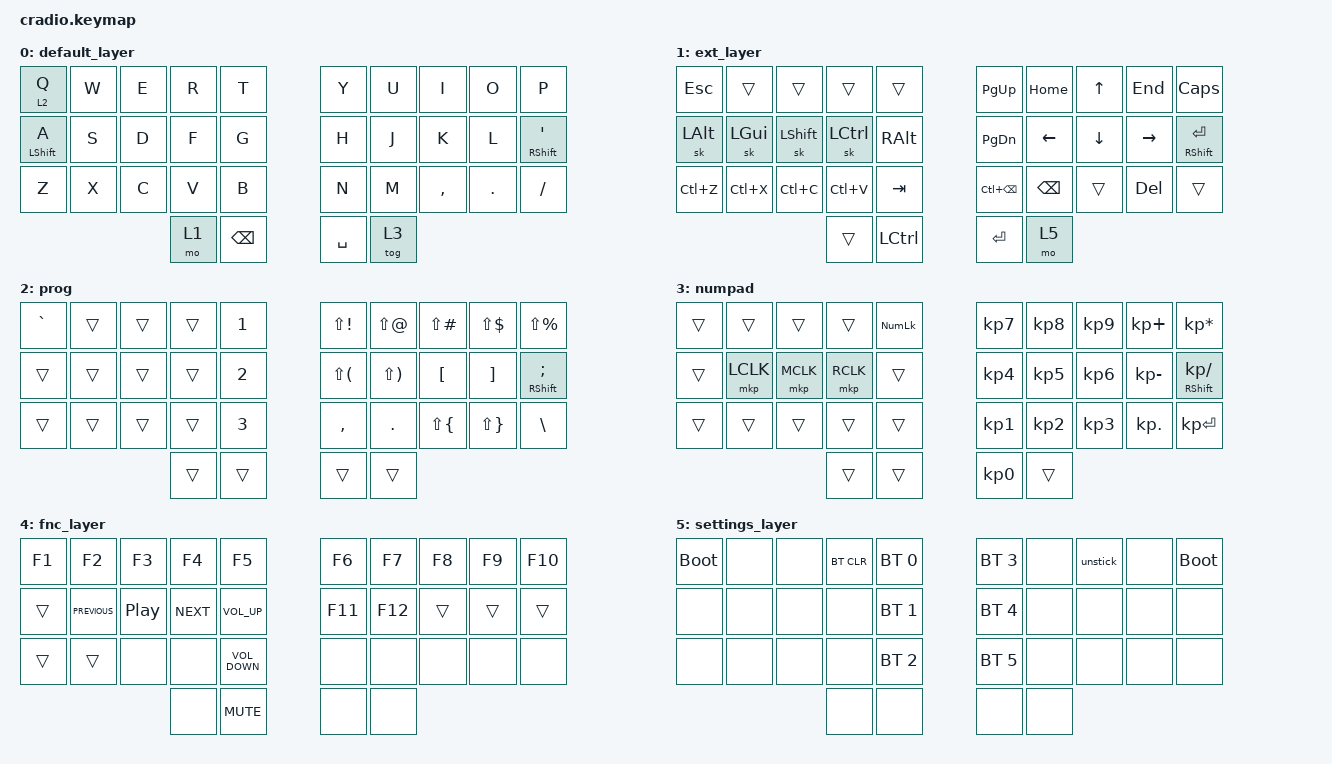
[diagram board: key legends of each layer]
/*
 * Copyright (c) 2020 The ZMK Contributors
 *
 * SPDX-License-Identifier: MIT
 */

#include <behaviors.dtsi>
#include <dt-bindings/zmk/bt.h>
#include <dt-bindings/zmk/keys.h>
#include <dt-bindings/zmk/mouse.h>

// Layer definitions

#define BASE 0
#define SYM 1
#define EXT 2
#define FNC 3
#define SYM2 4
#define SETTINGS 6

// -----------------

&mt {
    //  flavor = "tap-preferred";
    // tapping_term_ms = <200>;
};

&sk { ignore-modifiers; };

/ {
    macros {
        // sometimes my device thinks a modifier is being held down
        // pressing all modifiers fixes it.

        unstick: unstick {
            label = "ZM_unstick";
            compatible = "zmk,behavior-macro";
            #binding-cells = <0>;
            bindings = <&kp LSHIFT &kp RSHIFT &kp LCTRL &kp RCTRL &kp LALT &kp RALT &kp LGUI &kp RGUI>;
        };
    };

    combos {
        compatible = "zmk,combos";

        // both right thumb keys
        // internal-left & external-right thumb keys
        // both left thumb keys

        combo_settings {
            timeout-ms = <300>;
            key-positions = <30 31>;
            bindings = <&mo 5>;
        };

        quick_escape {
            bindings = <&kp ESC>;
            key-positions = <16 17>;
        };

        function_layer {
            bindings = <&mo 4>;
            key-positions = <32 33>;
        };

        windows_and_program {
            bindings = <&hold_layer 2 LEFT_WIN>;
            key-positions = <12 13>;
        };
    };

    behaviors {
        hold_layer: hold_layer {
            compatible = "zmk,behavior-hold-tap";
            label = "HOLD_LAYER";
            bindings = <&mo>, <&kp>;

            #binding-cells = <2>;
            tapping-term-ms = <200>;
        };
    };

    keymap {
        compatible = "zmk,keymap";

        // Base alpha layer

        default_layer {
            bindings = <
&hold_layer 2 Q   &kp W  &kp E  &kp R  &kp T            &kp Y      &kp U   &kp I      &kp O    &kp P
&mt LEFT_SHIFT A  &kp S  &kp D  &kp F  &kp G            &kp H      &kp J   &kp K      &kp L    &mt RIGHT_SHIFT SINGLE_QUOTE
&kp Z             &kp X  &kp C  &kp V  &kp B            &kp N      &kp M   &kp COMMA  &kp DOT  &kp SLASH
                                &mo 1  &kp BACKSPACE    &kp SPACE  &tog 3
            >;
        };

        ext_layer {
            bindings = <
&kp ESC    &trans     &trans      &trans     &trans       &kp PG_UP     &kp HOME  &kp UP    &kp END    &kp CAPS
&sk LALT   &sk LGUI   &sk LSHIFT  &sk LCTRL  &kp RALT     &kp PG_DN     &kp LEFT  &kp DOWN  &kp RIGHT  &mt RIGHT_SHIFT ENTER
&kp LC(Z)  &kp LC(X)  &kp LC(C)   &kp LC(V)  &kp TAB      &kp LC(BSPC)  &kp BSPC  &trans    &kp DEL    &trans
                                  &trans     &kp LCTRL    &kp ENTER     &mo 5
            >;
        };

        prog {
            bindings = <
&kp GRAVE  &trans  &trans  &trans  &kp N1    &kp LS(EXCL)  &kp LS(AT)    &kp LS(POUND)  &kp LS(DLLR)  &kp LS(PRCNT)
&trans     &trans  &trans  &trans  &kp N2    &kp LS(LPAR)  &kp LS(RPAR)  &kp LBKT       &kp RBKT      &mt RIGHT_SHIFT SEMICOLON
&trans     &trans  &trans  &trans  &kp N3    &kp COMMA     &kp DOT       &kp LS(LBRC)   &kp LS(RBRC)  &kp BACKSLASH
                           &trans  &trans    &trans        &trans
            >;
        };

        numpad {
            bindings = <
&trans  &trans     &trans     &trans     &kp KP_NUMLOCK    &kp KP_NUMBER_7  &kp KP_NUMBER_8  &kp KP_NUMBER_9  &kp KP_PLUS      &kp KP_ASTERISK
&trans  &mkp LCLK  &mkp MCLK  &mkp RCLK  &trans            &kp KP_NUMBER_4  &kp KP_NUMBER_5  &kp KP_NUMBER_6  &kp KP_SUBTRACT  &mt RIGHT_SHIFT KP_DIVIDE
&trans  &trans     &trans     &trans     &trans            &kp KP_NUMBER_1  &kp KP_NUMBER_2  &kp KP_NUMBER_3  &kp KP_DOT       &kp KP_ENTER
                              &trans     &trans            &kp KP_NUMBER_0  &trans
            >;
        };

        fnc_layer {
            bindings = <
&kp F1  &kp F2          &kp F3            &kp F4      &kp F5               &kp F6   &kp F7   &kp F8  &kp F9  &kp F10
&trans  &kp C_PREVIOUS  &kp C_PLAY_PAUSE  &kp C_NEXT  &kp C_VOLUME_UP      &kp F11  &kp F12  &trans  &trans  &trans
&trans  &trans          &none             &none       &kp C_VOLUME_DOWN    &none    &none    &none   &none   &none
                                          &none       &kp C_MUTE           &none    &none
            >;
        };

        settings_layer {
            bindings = <
&bootloader  &none  &none  &bt BT_CLR  &bt BT_SEL 0    &bt BT_SEL 3  &none  &unstick  &none  &bootloader
&none        &none  &none  &none       &bt BT_SEL 1    &bt BT_SEL 4  &none  &none     &none  &none
&none        &none  &none  &none       &bt BT_SEL 2    &bt BT_SEL 5  &none  &none     &none  &none
                           &none       &none           &none         &none
            >;
        };
    };
};
